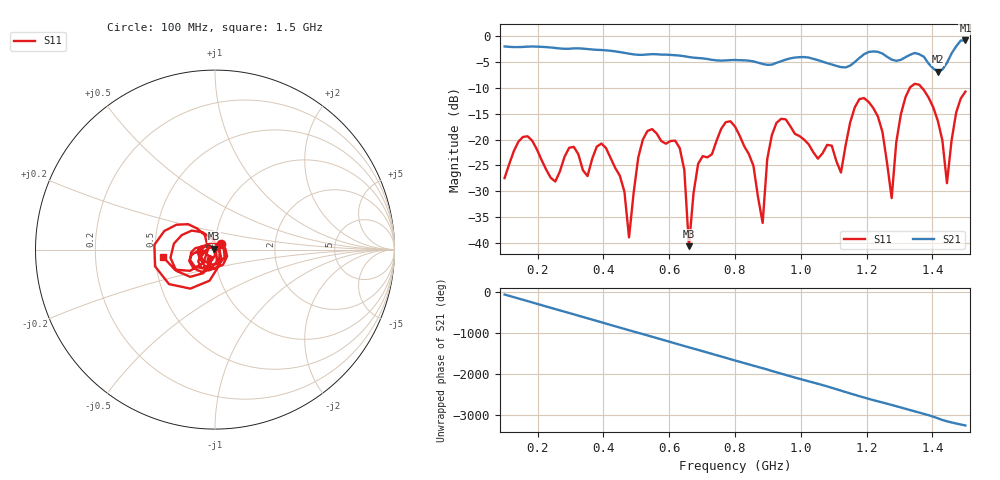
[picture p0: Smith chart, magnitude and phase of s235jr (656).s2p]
! NanoVNA-App
! Date: 2025-09-25 15:09:16
! Start: 100MHz Stop: 1,5GHz Points: 101
! S-Parameter data: F S11 S21 S12 S22
# Hz S RI R 50
!  Frequency  S11_Real  S11_Imag  S21_Real  S21_Imag  S12_Real  S12_Imag  S22_Real  S22_Imag
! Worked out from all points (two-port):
!   101 points, 100 MHz to 1.5 GHz, reference 50 ohm
!   highest |S21| = -0.80 dB at 1.5 GHz (marker M1); lowest = -6.8 dB at 1.416 GHz (marker M2)
!   |S21| within 3 dB of the highest: start of sweep to 639.5 MHz; 1.186 GHz to 1.258 GHz (72.69 MHz wide, 5.95 % of centre) (the widest 2 of 4)
!   lowest |S11| = -40.7 dB at 660 MHz (marker M3), VSWR 1.02, Z = 49.3 + j0.59 ohm
!   |S11| at or under -10 dB: start of sweep to 1.331 GHz; 1.368 GHz to end of sweep
!   S12 and S22 are empty: the file has one direction only
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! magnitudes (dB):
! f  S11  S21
! 100 MHz  -27.5  -2.0
! 170 MHz  -19.4  -2.0
! 338 MHz  -26.0  -2.4
! 408 MHz  -21.6  -2.7
! 478 MHz  -39.0  -3.4
! 520 MHz  -20.0  -3.6
! 576 MHz  -20.3  -3.5
! 632 MHz  -21.6  -3.7
! 660 MHz  -40.7  -4.0
! 688 MHz  -24.7  -4.2
! 800 MHz  -17.5  -4.6
! 884 MHz  -36.2  -5.4
! 926 MHz  -16.8  -5.1
! 1.038 GHz  -22.5  -4.4
! 1.122 GHz  -26.4  -6.0
! 1.192 GHz  -12.0  -3.5
! 1.248 GHz  -18.5  -3.3
! 1.276 GHz  -31.4  -4.5
! 1.332 GHz  -9.9  -3.6
! 1.416 GHz  -16.3  -6.8
! 1.444 GHz  -28.5  -5.1
! 1.5 GHz  -10.7  -0.8
